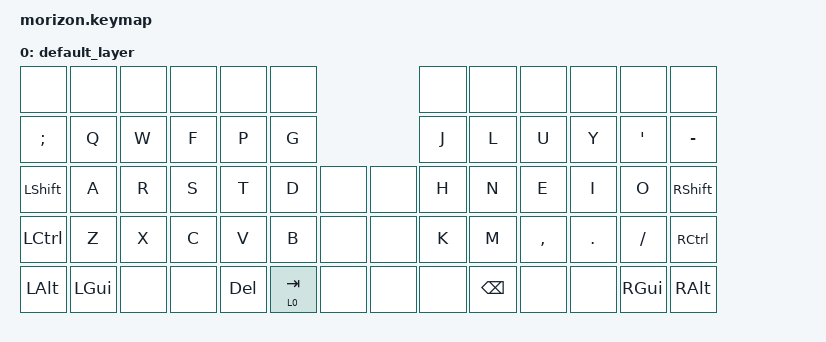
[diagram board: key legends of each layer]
/*
 * Copyright (c) 2022 The ZMK Contributors
 *
 * SPDX-License-Identifier: MIT
 */

#include <behaviors.dtsi>
#include <dt-bindings/zmk/bt.h>
#include <dt-bindings/zmk/keys.h>

#define DEF 0
#define SYM 1
#define FUN 2

&lt {
    tapping-term-ms = <180>;
    flavor = "tap-preferred";
};

/ {
    keymap {
        compatible = "zmk,keymap";

        default_layer {
            bindings = <
&none        &none        &none      &none      &none        &none                        &none      &none        &none      &none        &none      &none
&kp SEMI     &kp Q        &kp W      &kp F      &kp P        &kp G                        &kp J      &kp L        &kp U      &kp Y        &kp SQT    &kp MINUS
&kp LSHFT    &kp A        &kp R      &kp S      &kp T        &kp D     &none      &none   &kp H      &kp N        &kp E      &kp I        &kp O      &kp RSHFT    
&kp LCTRL    &kp Z        &kp X      &kp C      &kp V        &kp B     &none      &none   &kp K      &kp M        &kp COMMA  &kp DOT      &kp SLASH  &kp RCTRL  
&kp LALT     &kp LGUI     &none      &none      &kp DEL      &lt 0 TAB &none      &none   &none      &kp BSPC     &none      &none        &kp RGUI   &kp RALT
            >;
        };

        
    };
};
